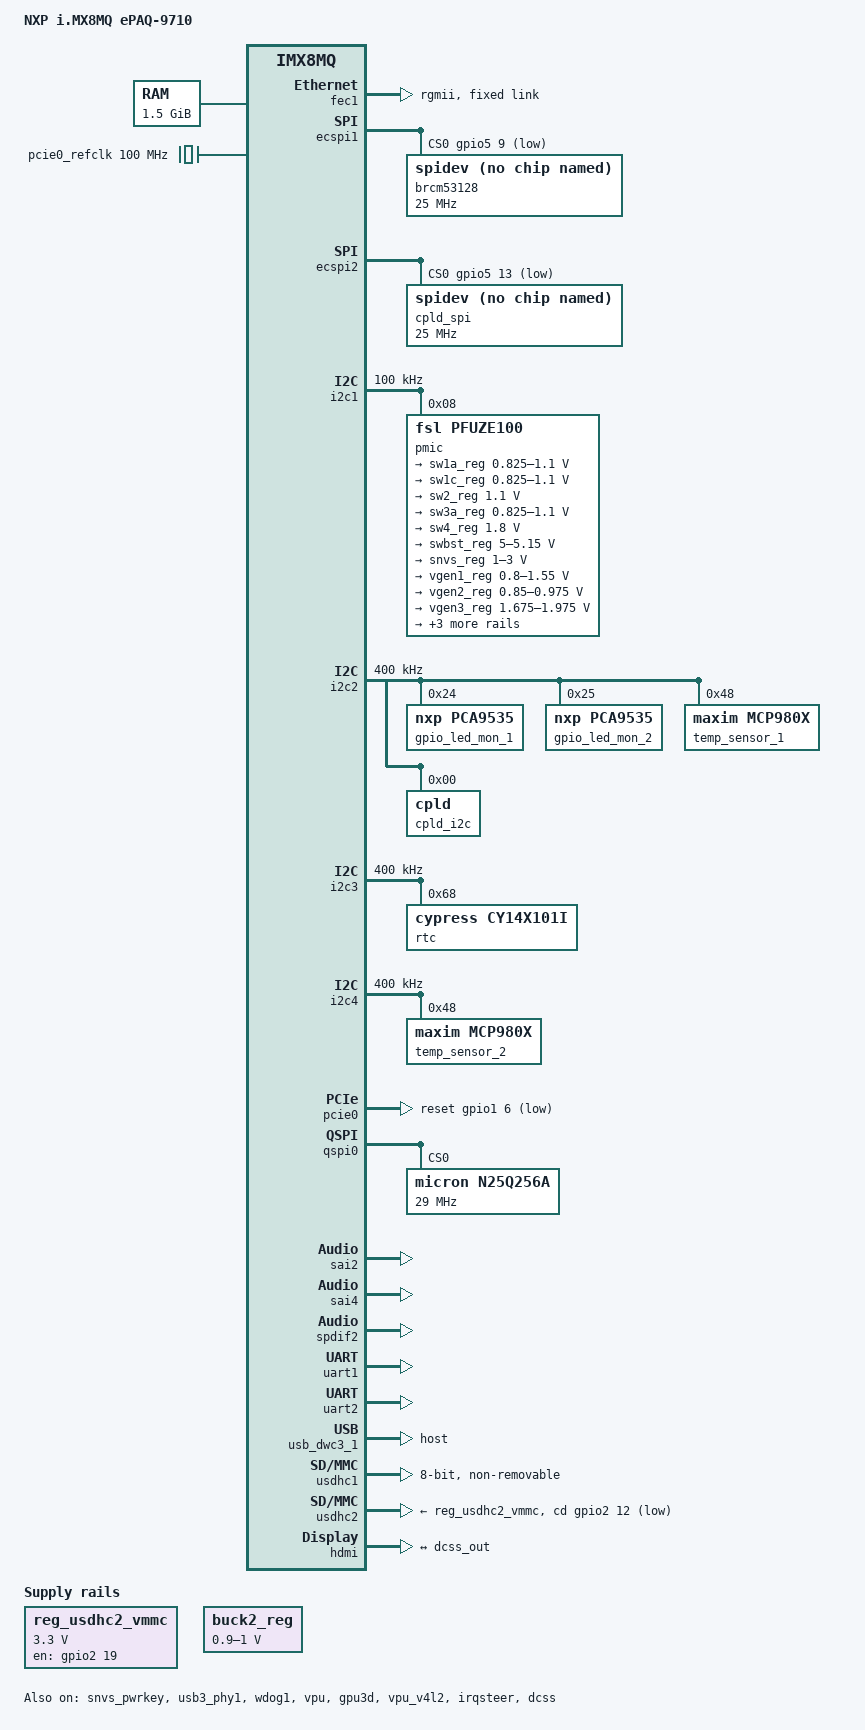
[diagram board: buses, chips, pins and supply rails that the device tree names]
// SPDX-License-Identifier: (GPL-2.0 OR MIT)
/*
 * Copyright 2017 NXP
 * Copyright (C) 2017-2018 Pengutronix, Lucas Stach <kernel@pengutronix.de>
 * Copyright (C) 2023-2024 QEI
 */

/dts-v1/;

#include "imx8mq.dtsi"

/ {
	model = "NXP i.MX8MQ ePAQ-9710";
	compatible = "fsl,imx8mq-qei-epaq9710", "fsl,imx8mq";

	chosen {
		stdout-path = &uart1;
	};

	memory@40000000 {
		device_type = "memory";
		reg = <0x00000000 0x40000000 0 0x60000000>;
	};

	resmem: reserved-memory {
		#address-cells = <2>;
		#size-cells = <2>;
		ranges;

		/* global autoconfigured region for contiguous allocations */
		linux,cma {
			compatible = "shared-dma-pool";
			reusable;
			size = <0 0x040000000>;
			linux,cma-default;
		};
	};

	pcie0_refclk: pcie0-refclk {
		compatible = "fixed-clock";
		#clock-cells = <0>;
		clock-frequency = <100000000>;
	};

	reg_usdhc2_vmmc: regulator-vsd-3v3 {
		pinctrl-names = "default";
		pinctrl-0 = <&pinctrl_reg_usdhc2>;
		compatible = "regulator-fixed";
		regulator-name = "VSD_3V3";
		regulator-min-microvolt = <3300000>;
		regulator-max-microvolt = <3300000>;
		gpio = <&gpio2 19 GPIO_ACTIVE_HIGH>;
		enable-active-high;
	};

	buck2_reg: regulator-buck2 {
		pinctrl-names = "default";
		pinctrl-0 = <&pinctrl_buck2>;
		compatible = "regulator-gpio";
		regulator-name = "vdd_arm";
		regulator-min-microvolt = <900000>;
		regulator-max-microvolt = <1000000>;
		gpios = <&gpio1 13 GPIO_ACTIVE_HIGH>;
		states = <1000000 0x0
			  900000 0x1>;
		regulator-boot-on;
		regulator-always-on;
	};


	sound-tlv320aic1103 {
		compatible = "fsl,imx-audio-card";
		model = "tlv320aic1103-audio";
		constraint-rate = <8000>;
		pri-dai-link {
			link-name = "tlvcodec";
			format = "i2s";
			cpu {
				sound-dai = <&sai2>;
			};
			codec {
				sound-dai = <&tlv320aic1103>;
			};
		};

	};


	tlv320aic1103: tlvcodec {
		compatible = "linux,snd-soc-dummy";
		#sound-dai-cells = <0>;
		status = "okay";
	};


	sound-hdmi {
		compatible = "fsl,imx-audio-hdmi";
		model = "imx-audio-hdmi";
		audio-cpu = <&sai4>;
		hdmi-out;
		constraint-rate = <44100>,
				<88200>,
				<176400>,
				<32000>,
				<48000>,
				<96000>,
				<192000>;
	};

	sound-hdmi-arc {
		compatible = "fsl,imx-audio-spdif";
		model = "imx-hdmi-arc";
		spdif-controller = <&spdif2>;
		spdif-in;
	};

        wdog_e: wdog_e {
                compatible = "linux,wdt-gpio";
                gpios = <&gpio1 3 GPIO_ACTIVE_LOW>;
                hw_algo = "toggle";
                hw_margin_ms = <3000>;
		always-running = "true";
		status="disabled";  /* Managed by QEI SW */
	};

};

&A53_0 {
	cpu-supply = <&buck2_reg>;
};

&A53_1 {
	cpu-supply = <&buck2_reg>;
};

&A53_2 {
	cpu-supply = <&buck2_reg>;
};

&A53_3 {
	cpu-supply = <&buck2_reg>;
};

&ddrc {
	operating-points-v2 = <&ddrc_opp_table>;

	ddrc_opp_table: opp-table {
		compatible = "operating-points-v2";

		opp-25M {
			opp-hz = /bits/ 64 <25000000>;
		};

		opp-100M {
			opp-hz = /bits/ 64 <100000000>;
		};

		/*
		 * On imx8mq B0 PLL can't be bypassed so low bus is 166M
		 */
		opp-166M {
			opp-hz = /bits/ 64 <166935483>;
		};

		opp-800M {
			opp-hz = /bits/ 64 <800000000>;
		};
	};
};

&fec1 {
	pinctrl-names = "default";
	pinctrl-0 = <&pinctrl_fec1>;
	phy-mode = "rgmii";
	fsl,magic-packet;
	status = "okay";

	assigned-clock-parents = <&clk IMX8MQ_SYS1_PLL_266M>,
				 <&clk IMX8MQ_SYS2_PLL_100M>,
				 <&clk IMX8MQ_SYS2_PLL_125M>,
				 <&clk IMX8MQ_SYS2_PLL_125M>;

	assigned-clock-rates = <0>, <100000000>, <125000000>, <125000000>;

	fixed-link {
  		speed = <1000>;
                full-duplex;
        };		
};

&ecspi1 {
	#address-cells = <1>;
	#size-cells = <0>;
	pinctrl-names = "default";
	pinctrl-0 = <&pinctrl_ecspi1 &pinctrl_ecspi1_cs>;
	cs-gpios = <&gpio5 9 GPIO_ACTIVE_LOW>;
	status = "okay";
	spi-cpha;
	spi-cpol;

	brcm53128: spidev@0 {
		#address-cells = <1>;
		#size-cells = <0>;
		status = "okay";
		compatible = "linux,spidev";
		spi-max-frequency = <25000000>;
		reg = <0>;
	};
};

&ecspi2 {
	#address-cells = <1>;
	#size-cells = <0>;
	pinctrl-names = "default";
	pinctrl-0 = <&pinctrl_ecspi2 &pinctrl_ecspi2_cs>;
	cs-gpios = <&gpio5 13 GPIO_ACTIVE_LOW>;
	status = "okay";

	cpld_spi: spidev@0 {
		#address-cells = <1>;
		#size-cells = <0>;
		status = "okay";
		compatible = "linux,spidev";
		spi-max-frequency = <25000000>;
		reg = <0>;
	};
};

&i2c1 {
	clock-frequency = <100000>;
	pinctrl-names = "default";
	pinctrl-0 = <&pinctrl_i2c1>;
	status = "okay";

	pmic@8 {
		compatible = "fsl,pfuze100";
		reg = <0x8>;

		regulators {
			sw1a_reg: sw1ab {
				regulator-min-microvolt = <825000>;
				regulator-max-microvolt = <1100000>;
			};

			sw1c_reg: sw1c {
				regulator-min-microvolt = <825000>;
				regulator-max-microvolt = <1100000>;
			};

			sw2_reg: sw2 {
				regulator-min-microvolt = <1100000>;
				regulator-max-microvolt = <1100000>;
				regulator-always-on;
			};

			sw3a_reg: sw3ab {
				regulator-min-microvolt = <825000>;
				regulator-max-microvolt = <1100000>;
				regulator-always-on;
			};

			sw4_reg: sw4 {
				regulator-min-microvolt = <1800000>;
				regulator-max-microvolt = <1800000>;
				regulator-always-on;
			};

			swbst_reg: swbst {
				regulator-min-microvolt = <5000000>;
				regulator-max-microvolt = <5150000>;
			};

			snvs_reg: vsnvs {
				regulator-min-microvolt = <1000000>;
				regulator-max-microvolt = <3000000>;
				regulator-always-on;
			};

			vref_reg: vrefddr {
				regulator-always-on;
			};

			vgen1_reg: vgen1 {
				regulator-min-microvolt = <800000>;
				regulator-max-microvolt = <1550000>;
			};

			vgen2_reg: vgen2 {
				regulator-min-microvolt = <850000>;
				regulator-max-microvolt = <975000>;
				regulator-always-on;
			};

			vgen3_reg: vgen3 {
				regulator-min-microvolt = <1675000>;
				regulator-max-microvolt = <1975000>;
				regulator-always-on;
			};

			vgen4_reg: vgen4 {
				regulator-min-microvolt = <1625000>;
				regulator-max-microvolt = <1875000>;
				regulator-always-on;
			};

			vgen5_reg: vgen5 {
				regulator-min-microvolt = <3075000>;
				regulator-max-microvolt = <3625000>;
				regulator-always-on;
			};

			vgen6_reg: vgen6 {
				regulator-min-microvolt = <1800000>;
				regulator-max-microvolt = <3300000>;
			};
		};
	};
};


&i2c2 {
	clock-frequency = <400000>;
	pinctrl-names = "default";
	pinctrl-0 = <&pinctrl_i2c2>;
	status = "okay";

        gpio_board_id: pca9535@20 {
                compatible = "nxp,pca9535";
                reg = <0x20>;
                gpio-controller;
                #gpio-cells = <2>;
		status = "disabled"; /* Managed in userspace */
	};

        gpio_serial_port_cfg_1: pca9535@21 {
                compatible = "nxp,pca9535";
                reg = <0x21>;
                gpio-controller;
                #gpio-cells = <2>;
                status = "disabled"; /* Managed in userspace */
	};

        gpio_serial_port_cfg_2: pca9535@22 {
                compatible = "nxp,pca9535";
                reg = <0x22>;
                gpio-controller;
                #gpio-cells = <2>;
                status = "disabled"; /* Managed in userspace */
	};


        gpio_cpld_cfg: pca9535@23 {
                compatible = "nxp,pca9535";
                reg = <0x23>;
                gpio-controller;
                #gpio-cells = <2>;
                status = "disabled";  /* Managed in userspace */
	};

        gpio_led_mon_1: pca9535@24 {
                compatible = "nxp,pca9535";
                reg = <0x24>;
                gpio-controller;
                #gpio-cells = <2>;
                status = "okay";
	};

        gpio_led_mon_2: pca9535@25 {
                compatible = "nxp,pca9535";
                reg = <0x25>;
                gpio-controller;
                #gpio-cells = <2>;
                status = "okay";
	};

        temp_sensor_1: mcp9800_1@48 {
                compatible = "maxim,mcp980x";
                reg = <0x48>;
                status = "okay";
	};

	cpld_i2c: cpld@00 {
		/* TODO: No driver available, no addr specified */
		compatible = "";
		pinctrl-names = "default";
		pinctrl-0 = <&pinctrl_cpld_jtag>;
		reg = <0x00>;
		status = "okay";
        };

};

&i2c3 {
	clock-frequency = <400000>;
	pinctrl-names = "default";
	pinctrl-0 = <&pinctrl_i2c3>;
	status = "okay";

	rtc: rtc@68 {
                compatible = "cypress,cy14x101i";
                reg = <0x68>;
                #clock-cells = <0>;
                status = "okay";

	};
};

&i2c4 {
	clock-frequency = <400000>;
	pinctrl-names = "default";
	pinctrl-0 = <&pinctrl_i2c4>;
	status = "okay";

        temp_sensor_2: mcp9800_2@48 {
                compatible = "maxim,mcp980x";
                reg = <0x48>;
                status = "okay";
	};
};

&pcie0 {
	pinctrl-names = "default";
	pinctrl-0 = <&pinctrl_pcie0>;
	reset-gpio = <&gpio1 6 GPIO_ACTIVE_LOW>;
	clkreq-gpio = <&gpio1 8 GPIO_ACTIVE_LOW>;
	disable-gpio = <&gpio1 5 GPIO_ACTIVE_LOW>;
	clocks = <&clk IMX8MQ_CLK_PCIE1_ROOT>,
		 <&clk IMX8MQ_CLK_PCIE1_AUX>,
		 <&clk IMX8MQ_CLK_PCIE1_PHY>,
		 <&pcie0_refclk>;
	clock-names = "pcie", "pcie_aux", "pcie_phy", "pcie_bus";
	vph-supply = <&vgen5_reg>;
	l1ss-disabled;

	status = "okay";
};

&pgc_vpu {
	power-supply = <&sw1c_reg>;
};

&pgc_gpu {
	power-supply = <&sw1a_reg>;
};

&qspi0 {
	pinctrl-names = "default";
	pinctrl-0 = <&pinctrl_qspi>;
	status = "okay";

	n25q256a: flash@0 {
		reg = <0>;
		#address-cells = <1>;
		#size-cells = <1>;
		compatible = "micron,n25q256a", "jedec,spi-nor";
		spi-max-frequency = <29000000>;
		spi-tx-bus-width = <1>;
		spi-rx-bus-width = <4>;
	};
};

&sai2 {
	pinctrl-names = "default";
	pinctrl-0 = <&pinctrl_sai2>;
	assigned-clocks = <&clk IMX8MQ_CLK_SAI2>;
	assigned-clock-parents = <&clk IMX8MQ_AUDIO_PLL1_OUT>;
	assigned-clock-rates = <24576000>;
	status = "okay";
};

&sai4 {
	assigned-clocks = <&clk IMX8MQ_CLK_SAI4>;
	assigned-clock-parents = <&clk IMX8MQ_AUDIO_PLL1_OUT>;
	assigned-clock-rates = <24576000>;
	clocks = <&clk IMX8MQ_CLK_SAI4_IPG>, <&clk IMX8MQ_CLK_DUMMY>,
		<&clk IMX8MQ_CLK_SAI4_ROOT>, <&clk IMX8MQ_CLK_DUMMY>,
		<&clk IMX8MQ_CLK_DUMMY>, <&clk IMX8MQ_AUDIO_PLL1_OUT>,
		<&clk IMX8MQ_AUDIO_PLL2_OUT>;
	clock-names = "bus", "mclk0", "mclk1", "mclk2", "mclk3", "pll8k", "pll11k";
	fsl,sai-multi-lane;
	dmas = <&sdma2 0 25 0>, <&sdma2 1 25 0>;
	status = "okay";
};

&snvs_pwrkey {
	status = "okay";
};

&snvs_rtc {
	status = "disabled";
};

&spdif2 {
	assigned-clocks = <&clk IMX8MQ_CLK_SPDIF2>;
	assigned-clock-parents = <&clk IMX8MQ_AUDIO_PLL1_OUT>;
	assigned-clock-rates = <24576000>;
	status = "okay";
};


&uart1 {
	pinctrl-names = "default";
	pinctrl-0 = <&pinctrl_uart1>;
	status = "okay";
};

&uart2 {
	pinctrl-names = "default";
	pinctrl-0 = <&pinctrl_uart2>;
	status = "okay";
};

&usb3_phy1 {
	status = "okay";
};

&usb_dwc3_1 {
	dr_mode = "host";
	status = "okay";
};

&usdhc1 {
	assigned-clocks = <&clk IMX8MQ_CLK_USDHC1>;
	assigned-clock-rates = <400000000>;
	pinctrl-names = "default", "state_100mhz", "state_200mhz";
	pinctrl-0 = <&pinctrl_usdhc1>;
	pinctrl-1 = <&pinctrl_usdhc1_100mhz>;
	pinctrl-2 = <&pinctrl_usdhc1_200mhz>;
	vqmmc-supply = <&sw4_reg>;
	bus-width = <8>;
	non-removable;
	no-sd;
	no-sdio;
	status = "okay";
};

&usdhc2 {
	assigned-clocks = <&clk IMX8MQ_CLK_USDHC2>;
	assigned-clock-rates = <200000000>;
	pinctrl-names = "default", "state_100mhz", "state_200mhz";
	pinctrl-0 = <&pinctrl_usdhc2>, <&pinctrl_usdhc2_gpio>;
	pinctrl-1 = <&pinctrl_usdhc2_100mhz>, <&pinctrl_usdhc2_gpio>;
	pinctrl-2 = <&pinctrl_usdhc2_200mhz>, <&pinctrl_usdhc2_gpio>;
	cd-gpios = <&gpio2 12 GPIO_ACTIVE_LOW>;
	vmmc-supply = <&reg_usdhc2_vmmc>;
	status = "okay";
};

&wdog1 {
	/* TODO: Fixme */
	pinctrl-names = "default";
	pinctrl-0 = <&pinctrl_wdog>;
	fsl,ext-reset-output;
	status = "okay";
};

&iomuxc {
	pinctrl_buck2: vddarmgrp {
		fsl,pins = <
			MX8MQ_IOMUXC_GPIO1_IO13_GPIO1_IO13		0x19
		>;
	};

	pinctrl_fec1: fec1grp {
		fsl,pins = <
			MX8MQ_IOMUXC_ENET_MDC_ENET1_MDC			0x3
			MX8MQ_IOMUXC_ENET_MDIO_ENET1_MDIO		0x23
			MX8MQ_IOMUXC_ENET_TD3_ENET1_RGMII_TD3		0x1f
			MX8MQ_IOMUXC_ENET_TD2_ENET1_RGMII_TD2		0x1f
			MX8MQ_IOMUXC_ENET_TD1_ENET1_RGMII_TD1		0x1f
			MX8MQ_IOMUXC_ENET_TD0_ENET1_RGMII_TD0		0x1f
			MX8MQ_IOMUXC_ENET_RD3_ENET1_RGMII_RD3		0x91
			MX8MQ_IOMUXC_ENET_RD2_ENET1_RGMII_RD2		0x91
			MX8MQ_IOMUXC_ENET_RD1_ENET1_RGMII_RD1		0x91
			MX8MQ_IOMUXC_ENET_RD0_ENET1_RGMII_RD0		0x91
			MX8MQ_IOMUXC_ENET_TXC_ENET1_RGMII_TXC		0x4000001f
			MX8MQ_IOMUXC_ENET_RXC_ENET1_RGMII_RXC		0x91
			MX8MQ_IOMUXC_ENET_RX_CTL_ENET1_RGMII_RX_CTL	0x91
			MX8MQ_IOMUXC_ENET_TX_CTL_ENET1_RGMII_TX_CTL	0x1f
			MX8MQ_IOMUXC_GPIO1_IO09_GPIO1_IO9		0x19
		>;
	};

	pinctrl_i2c1: i2c1grp {
		fsl,pins = <
			MX8MQ_IOMUXC_I2C1_SCL_I2C1_SCL			0x4000007f
			MX8MQ_IOMUXC_I2C1_SDA_I2C1_SDA			0x4000007f
		>;
	};

	pinctrl_i2c2: i2c2grp {
		fsl,pins = <
			MX8MQ_IOMUXC_I2C2_SCL_I2C2_SCL			0x4000007f
			MX8MQ_IOMUXC_I2C2_SDA_I2C2_SDA			0x4000007f
		>;
	};

	pinctrl_i2c3: i2c3grp {
		fsl,pins = <
			MX8MQ_IOMUXC_I2C3_SCL_I2C3_SCL			0x4000007f
			MX8MQ_IOMUXC_I2C3_SDA_I2C3_SDA			0x4000007f
		>;
	};

	pinctrl_i2c4: i2c4grp {
		fsl,pins = <
			MX8MQ_IOMUXC_I2C4_SCL_I2C4_SCL			0x4000007f
			MX8MQ_IOMUXC_I2C4_SDA_I2C4_SDA			0x4000007f
		>;
	};


	pinctrl_pcie0: pcie0grp {
		fsl,pins = <
			MX8MQ_IOMUXC_UART4_RXD_PCIE1_CLKREQ_B		0x66
			MX8MQ_IOMUXC_GPIO1_IO06_GPIO1_IO6		0x16
			MX8MQ_IOMUXC_GPIO1_IO05_GPIO1_IO5		0x16
			MX8MQ_IOMUXC_GPIO1_IO08_GPIO1_IO8		0x16

		>;
	};

	pinctrl_ecspi1: ecspi1grp {
		fsl,pins = <
			MX8MQ_IOMUXC_ECSPI1_MOSI_ECSPI1_MOSI		0x19
			MX8MQ_IOMUXC_ECSPI1_MISO_ECSPI1_MISO		0x19
			MX8MQ_IOMUXC_ECSPI1_SCLK_ECSPI1_SCLK		0x19
		>;
	};

	pinctrl_ecspi1_cs: ecspi1csgrp {
		fsl,pins = <
			MX8MQ_IOMUXC_ECSPI1_SS0_GPIO5_IO9		0x19
		>;
	};

	pinctrl_ecspi2: ecspi2grp {
		fsl,pins = <
			MX8MQ_IOMUXC_ECSPI2_MOSI_ECSPI2_MOSI		0x19
			MX8MQ_IOMUXC_ECSPI2_MISO_ECSPI2_MISO		0x19
			MX8MQ_IOMUXC_ECSPI2_SCLK_ECSPI2_SCLK		0x19
		>;
	};

	pinctrl_ecspi2_cs: ecspi2csgrp {
		fsl,pins = <
			MX8MQ_IOMUXC_ECSPI2_SS0_GPIO5_IO13		0x19
		>;
	};

	pinctrl_qspi: qspigrp {
		fsl,pins = <
			MX8MQ_IOMUXC_NAND_ALE_QSPI_A_SCLK	0x82
			MX8MQ_IOMUXC_NAND_CE0_B_QSPI_A_SS0_B	0x82
			MX8MQ_IOMUXC_NAND_DATA00_QSPI_A_DATA0	0x82
			MX8MQ_IOMUXC_NAND_DATA01_QSPI_A_DATA1	0x82
			MX8MQ_IOMUXC_NAND_DATA02_QSPI_A_DATA2	0x82
			MX8MQ_IOMUXC_NAND_DATA03_QSPI_A_DATA3	0x82
		>;
	};

	pinctrl_reg_usdhc2: regusdhc2gpiogrp {
		fsl,pins = <
			MX8MQ_IOMUXC_SD2_RESET_B_GPIO2_IO19		0x41
		>;
	};

	pinctrl_sai2: sai2grp {
		fsl,pins = <
			MX8MQ_IOMUXC_SAI2_TXFS_SAI2_TX_SYNC     0xd6
			MX8MQ_IOMUXC_SAI2_TXC_SAI2_TX_BCLK      0xd6
			MX8MQ_IOMUXC_SAI2_MCLK_SAI2_MCLK        0xd6
			MX8MQ_IOMUXC_SAI2_TXD0_SAI2_TX_DATA0    0xd6
		>;
	};


	pinctrl_uart1: uart1grp {
		fsl,pins = <
			MX8MQ_IOMUXC_UART1_RXD_UART1_DCE_RX		0x49
			MX8MQ_IOMUXC_UART1_TXD_UART1_DCE_TX		0x49
		>;
	};

	pinctrl_uart2: uart2grp {
		fsl,pins = <
			MX8MQ_IOMUXC_UART2_RXD_UART2_DCE_RX		0x49
			MX8MQ_IOMUXC_UART2_TXD_UART2_DCE_TX		0x49
		>;
	};

	pinctrl_usdhc1: usdhc1grp {
		fsl,pins = <
			MX8MQ_IOMUXC_SD1_CLK_USDHC1_CLK			0x83
			MX8MQ_IOMUXC_SD1_CMD_USDHC1_CMD			0xc3
			MX8MQ_IOMUXC_SD1_DATA0_USDHC1_DATA0		0xc3
			MX8MQ_IOMUXC_SD1_DATA1_USDHC1_DATA1		0xc3
			MX8MQ_IOMUXC_SD1_DATA2_USDHC1_DATA2		0xc3
			MX8MQ_IOMUXC_SD1_DATA3_USDHC1_DATA3		0xc3
			MX8MQ_IOMUXC_SD1_DATA4_USDHC1_DATA4		0xc3
			MX8MQ_IOMUXC_SD1_DATA5_USDHC1_DATA5		0xc3
			MX8MQ_IOMUXC_SD1_DATA6_USDHC1_DATA6		0xc3
			MX8MQ_IOMUXC_SD1_DATA7_USDHC1_DATA7		0xc3
			MX8MQ_IOMUXC_SD1_STROBE_USDHC1_STROBE		0x83
			MX8MQ_IOMUXC_SD1_RESET_B_USDHC1_RESET_B		0xc1
		>;
	};

	pinctrl_usdhc1_100mhz: usdhc1-100grp {
		fsl,pins = <
			MX8MQ_IOMUXC_SD1_CLK_USDHC1_CLK			0x8d
			MX8MQ_IOMUXC_SD1_CMD_USDHC1_CMD			0xcd
			MX8MQ_IOMUXC_SD1_DATA0_USDHC1_DATA0		0xcd
			MX8MQ_IOMUXC_SD1_DATA1_USDHC1_DATA1		0xcd
			MX8MQ_IOMUXC_SD1_DATA2_USDHC1_DATA2		0xcd
			MX8MQ_IOMUXC_SD1_DATA3_USDHC1_DATA3		0xcd
			MX8MQ_IOMUXC_SD1_DATA4_USDHC1_DATA4		0xcd
			MX8MQ_IOMUXC_SD1_DATA5_USDHC1_DATA5		0xcd
			MX8MQ_IOMUXC_SD1_DATA6_USDHC1_DATA6		0xcd
			MX8MQ_IOMUXC_SD1_DATA7_USDHC1_DATA7		0xcd
			MX8MQ_IOMUXC_SD1_STROBE_USDHC1_STROBE		0x8d
			MX8MQ_IOMUXC_SD1_RESET_B_USDHC1_RESET_B		0xc1
		>;
	};

	pinctrl_usdhc1_200mhz: usdhc1-200grp {
		fsl,pins = <
			MX8MQ_IOMUXC_SD1_CLK_USDHC1_CLK			0x9f
			MX8MQ_IOMUXC_SD1_CMD_USDHC1_CMD			0xdf
			MX8MQ_IOMUXC_SD1_DATA0_USDHC1_DATA0		0xdf
			MX8MQ_IOMUXC_SD1_DATA1_USDHC1_DATA1		0xdf
			MX8MQ_IOMUXC_SD1_DATA2_USDHC1_DATA2		0xdf
			MX8MQ_IOMUXC_SD1_DATA3_USDHC1_DATA3		0xdf
			MX8MQ_IOMUXC_SD1_DATA4_USDHC1_DATA4		0xdf
			MX8MQ_IOMUXC_SD1_DATA5_USDHC1_DATA5		0xdf
			MX8MQ_IOMUXC_SD1_DATA6_USDHC1_DATA6		0xdf
			MX8MQ_IOMUXC_SD1_DATA7_USDHC1_DATA7		0xdf
			MX8MQ_IOMUXC_SD1_STROBE_USDHC1_STROBE		0x9f
			MX8MQ_IOMUXC_SD1_RESET_B_USDHC1_RESET_B		0xc1
		>;
	};

	pinctrl_usdhc2_gpio: usdhc2gpiogrp {
		fsl,pins = <
			MX8MQ_IOMUXC_SD2_CD_B_GPIO2_IO12		0x41
		>;
	};

	pinctrl_usdhc2: usdhc2grp {
		fsl,pins = <
			MX8MQ_IOMUXC_SD2_CLK_USDHC2_CLK			0x83
			MX8MQ_IOMUXC_SD2_CMD_USDHC2_CMD			0xc3
			MX8MQ_IOMUXC_SD2_DATA0_USDHC2_DATA0		0xc3
			MX8MQ_IOMUXC_SD2_DATA1_USDHC2_DATA1		0xc3
			MX8MQ_IOMUXC_SD2_DATA2_USDHC2_DATA2		0xc3
			MX8MQ_IOMUXC_SD2_DATA3_USDHC2_DATA3		0xc3
			MX8MQ_IOMUXC_GPIO1_IO04_USDHC2_VSELECT		0xc1
		>;
	};

	pinctrl_usdhc2_100mhz: usdhc2-100grp {
		fsl,pins = <
			MX8MQ_IOMUXC_SD2_CLK_USDHC2_CLK			0x85
			MX8MQ_IOMUXC_SD2_CMD_USDHC2_CMD			0xc5
			MX8MQ_IOMUXC_SD2_DATA0_USDHC2_DATA0		0xc5
			MX8MQ_IOMUXC_SD2_DATA1_USDHC2_DATA1		0xc5
			MX8MQ_IOMUXC_SD2_DATA2_USDHC2_DATA2		0xc5
			MX8MQ_IOMUXC_SD2_DATA3_USDHC2_DATA3		0xc5
			MX8MQ_IOMUXC_GPIO1_IO04_USDHC2_VSELECT		0xc1
		>;
	};

	pinctrl_usdhc2_200mhz: usdhc2-200grp {
		fsl,pins = <
			MX8MQ_IOMUXC_SD2_CLK_USDHC2_CLK			0x87
			MX8MQ_IOMUXC_SD2_CMD_USDHC2_CMD			0xc7
			MX8MQ_IOMUXC_SD2_DATA0_USDHC2_DATA0		0xc7
			MX8MQ_IOMUXC_SD2_DATA1_USDHC2_DATA1		0xc7
			MX8MQ_IOMUXC_SD2_DATA2_USDHC2_DATA2		0xc7
			MX8MQ_IOMUXC_SD2_DATA3_USDHC2_DATA3		0xc7
			MX8MQ_IOMUXC_GPIO1_IO04_USDHC2_VSELECT		0xc1
		>;
	};

	pinctrl_wdog: wdog1grp {
		fsl,pins = <
			MX8MQ_IOMUXC_GPIO1_IO02_WDOG1_WDOG_B		0xc6
		>;
	};

	pinctrl_cpld_jtag: cpldjtaggrp {
		fsl,pins = <
			MX8MQ_IOMUXC_NAND_CLE_GPIO3_IO5                 0x00
			MX8MQ_IOMUXC_NAND_DQS_GPIO3_IO14                0x00
			MX8MQ_IOMUXC_NAND_DATA04_GPIO3_IO10             0x00
			MX8MQ_IOMUXC_NAND_DATA05_GPIO3_IO11             0x00
		>;
	};

};

/* HDMI Display Support */
&vpu {
	vpu-supply = <&sw1c_reg>;
	status = "okay";
};

&gpu3d {
	status = "okay";
};

&vpu_v4l2 {
	status = "okay";
};

&irqsteer {
	status = "okay";
};

&dcss {
	status = "okay";

	port@0 {
		dcss_out: endpoint {
			  remote-endpoint = <&hdmi_in>;
		};
	};
};

&hdmi {
	compatible = "cdn,imx8mq-hdmi";
	lane-mapping = <0xe4>;
	hdcp-config = <0x3>;
	status = "okay";
	port@1 {
		hdmi_in: endpoint {
			remote-endpoint = <&dcss_out>;
		};
	};
};
